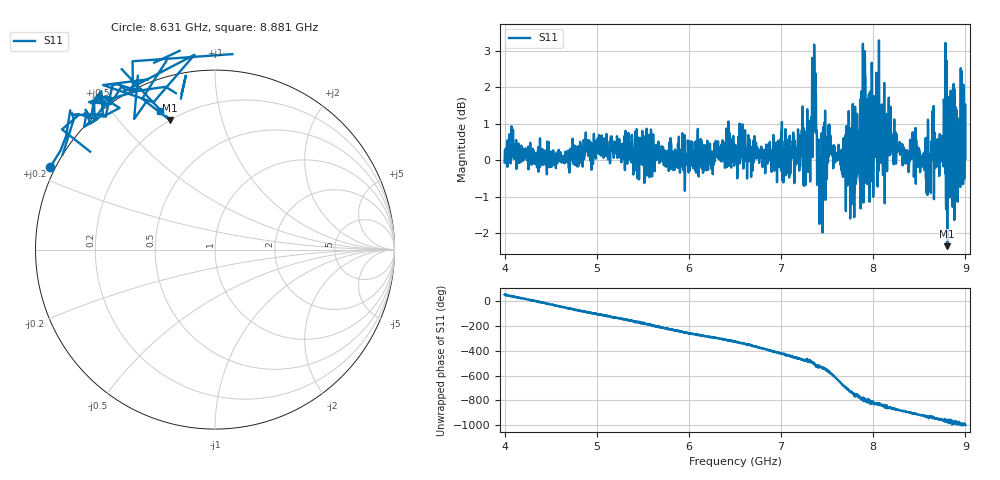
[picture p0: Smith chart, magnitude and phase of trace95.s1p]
! Created with skrf 1.8.0 (http://scikit-rf.org).
# Hz S RI R 50.0
!freq ReS11 ImS11
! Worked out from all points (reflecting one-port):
!   1601 points, 4 GHz to 9 GHz, reference 50 ohm
!   lowest |S11| = -2.4 dB at 8.803 GHz (marker M1), VSWR 7.41, Z = 10.1 + j34.6 ohm
!   phase of S11 starts at 52 deg and turns -1050 deg over the sweep
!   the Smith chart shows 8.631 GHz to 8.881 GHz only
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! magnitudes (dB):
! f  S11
! 4 GHz  -0.1
! 4.069 GHz  0.5
! 4.625 GHz  -0.1
! 4.897 GHz  0.3
! 5.25 GHz  0.1
! 5.875 GHz  0.1
! 6.5 GHz  0.0
! 7.125 GHz  0.5
! 7.266 GHz  -0.7
! 7.316 GHz  -0.6
! 7.356 GHz  1.6
! 7.406 GHz  0.6
! 7.425 GHz  -0.4
! 7.525 GHz  0.9
! 7.647 GHz  -0.1
! 7.75 GHz  -1.6
! 7.841 GHz  0.0
! 7.928 GHz  1.0
! 7.956 GHz  -0.8
! 8.05 GHz  1.5
! 8.375 GHz  0.0
! 8.603 GHz  -0.8
! 8.653 GHz  0.9
! 8.697 GHz  0.6
! 8.803 GHz  -2.4
! 8.919 GHz  -0.4
! 8.956 GHz  0.3
! 9 GHz  0.1
